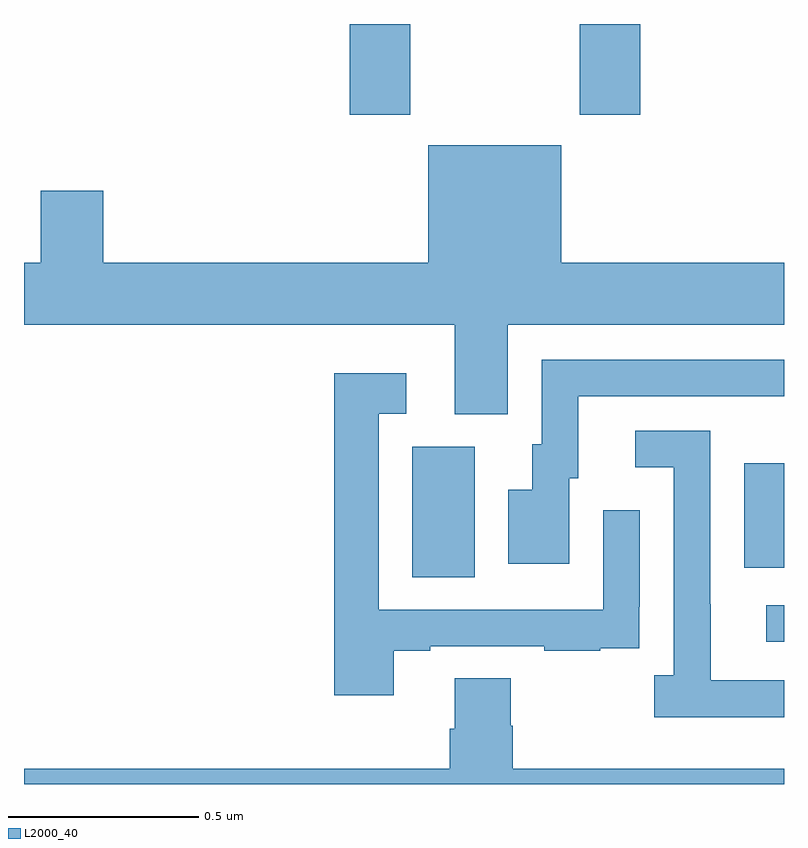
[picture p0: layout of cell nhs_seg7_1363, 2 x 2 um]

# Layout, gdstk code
import gdstk
lib = gdstk.Library(unit=1e-6, precision=1e-09)
def R(c, l, rs):  # rectangles x0, y0, x1, y1
    for r in rs: c.add(gdstk.rectangle(r[:2], r[2:], *l))
def P(c, l, *ps):  # polygons
    for p in ps: c.add(gdstk.Polygon(p, *l))
L2000_40 = (2000, 40)

nhs_seg7_1363 = lib.new_cell('nhs_seg7_1363')
R(nhs_seg7_1363, L2000_40, [(130.953,1074.375,131,1074.471), (130.022,1074.544,130.186,1074.888), (130.895,1074.569,131,1074.844), (129.857,1075.761,130.017,1076), (130.462,1075.761,130.622,1076)])
P(nhs_seg7_1363, L2000_40, [(130.273,1075.208),(131,1075.208),(131,1075.372),(130.414,1075.372),(130.414,1075.681),(130.064,1075.681),(130.064,1075.372),(129.208,1075.372),(129.208,1075.561),(129.044,1075.561),(129.044,1075.372),(129,1075.372),(129,1075.208),(130.133,1075.208),(130.133,1074.973),(130.273,1074.973)],
  [(130.435,1074.804),(130.459,1074.804),(130.459,1075.02),(131,1075.02),(131,1075.116),(130.362,1075.116),(130.362,1074.894),(130.337,1074.894),(130.337,1074.775),(130.274,1074.775),(130.274,1074.579),(130.435,1074.579)],
  [(129.973,1074.351),(130.069,1074.351),(130.069,1074.363),(130.369,1074.363),(130.369,1074.351),(130.517,1074.351),(130.517,1074.357),(130.619,1074.357),(130.619,1074.466),(130.62,1074.466),(130.62,1074.721),(130.524,1074.721),(130.524,1074.459),(129.933,1074.459),(129.933,1074.975),(130.006,1074.975),(130.006,1075.081),(129.817,1075.081),(129.817,1074.234),(129.973,1074.234)],
  [(131,1074.273),(130.807,1074.273),(130.807,1074.473),(130.806,1074.473),(130.806,1074.93),(130.608,1074.93),(130.608,1074.834),(130.71,1074.834),(130.71,1074.286),(130.659,1074.286),(130.659,1074.176),(131,1074.176)],
  [(129,1074),(131,1074),(131,1074.04),(130.286,1074.04),(130.286,1074.153),(130.281,1074.153),(130.281,1074.278),(130.133,1074.278),(130.133,1074.146),(130.121,1074.146),(130.121,1074.04),(129,1074.04)])

lib.write_gds('nhs_seg7_1363.gds')
